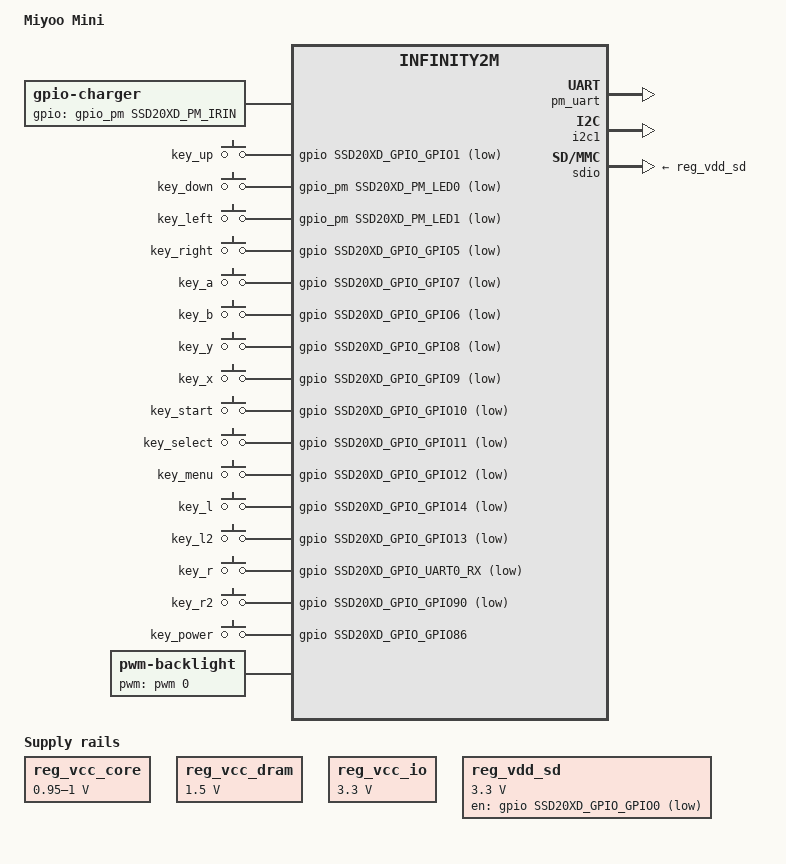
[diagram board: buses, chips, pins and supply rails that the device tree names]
// SPDX-License-Identifier: GPL-2.0-or-later
/*
 * Copyright (c) 2021 thingy.jp.
 * Author: Daniel Palmer <daniel@thingy.jp>
 */

/dts-v1/;
#include "mstar-infinity2m-ssd202d.dtsi"

/ {
	model = "Miyoo Mini";
	compatible = "miyoo,miyoo-mini", "mstar,infinity2m";

	aliases {
		serial0 = &pm_uart;
	};

	chosen {
		stdout-path = "serial0:115200n8";
		bootargs = "console=ttyS0,115200 clk_ignore_unused earlyprintk";
	};

	gpio-charger {
		compatible = "gpio-charger";
		charger-type = "usb-dcp";
		gpios = <&gpio_pm SSD20XD_PM_IRIN>;
	};

	gpio-keys {
		compatible = "gpio-keys-polled";
		poll-interval = <10>;

		key_up {
			label = "key_up";
			gpios = <&gpio SSD20XD_GPIO_GPIO1 GPIO_ACTIVE_LOW>;
			linux,code = <103>; /* KEY_UP */
		};

		key_down {
			label = "key_down";
			gpios = <&gpio_pm SSD20XD_PM_LED0 GPIO_ACTIVE_LOW>;
			linux,code = <108>; /* KEY_DOWN */
		};

		key_left {
			label = "key_left";
			gpios = <&gpio_pm SSD20XD_PM_LED1 GPIO_ACTIVE_LOW>;
			linux,code = <105>; /* KEY_LEFT */
		};

		key_right {
			label = "key_right";
			gpios = <&gpio SSD20XD_GPIO_GPIO5 GPIO_ACTIVE_LOW>;
			linux,code = <106>; /* KEY_RIGHT */
		};

		key_a {
			label = "key_a";
			gpios = <&gpio SSD20XD_GPIO_GPIO7 GPIO_ACTIVE_LOW>;
			linux,code = <30>; /* KEY_A */
		};

		key_b {
			label = "key_b";
			gpios = <&gpio SSD20XD_GPIO_GPIO6 GPIO_ACTIVE_LOW>;
			linux,code = <48>; /* KEY_B */
		};

		key_y {
			label = "key_y";
			gpios = <&gpio SSD20XD_GPIO_GPIO8 GPIO_ACTIVE_LOW>;
			linux,code = <21>; /* KEY_Y */
		};

		key_x {
			label = "key_x";
			gpios = <&gpio SSD20XD_GPIO_GPIO9 GPIO_ACTIVE_LOW>;
			linux,code = <45>; /* KEY_X */
		};

		key_start {
			label = "key_start";
			gpios = <&gpio SSD20XD_GPIO_GPIO10 GPIO_ACTIVE_LOW>;
			linux,code = <28>; /* KEY_ENTER */
		};

		key_select {
			label = "key_select";
			gpios = <&gpio SSD20XD_GPIO_GPIO11 GPIO_ACTIVE_LOW>;
			linux,code = <1>; /* KEY_ESC */
		};

		key_menu {
			label = "key_menu";
			gpios = <&gpio SSD20XD_GPIO_GPIO12 GPIO_ACTIVE_LOW>;
			linux,code = <139>; /* KEY_MENU */
		};

		key_l {
			label = "key_l";
			gpios = <&gpio SSD20XD_GPIO_GPIO14 GPIO_ACTIVE_LOW>;
			linux,code = <16>; /* KEY_Q */
		};

		key_l2 {
			label = "key_l2";
			gpios = <&gpio SSD20XD_GPIO_GPIO13 GPIO_ACTIVE_LOW>;
			linux,code = <17>; /* KEY_W */
		};

		key_r {
			label = "key_r";
			gpios = <&gpio SSD20XD_GPIO_UART0_RX GPIO_ACTIVE_LOW>;
			linux,code = <18>; /* KEY_E */
		};

		key_r2 {
			label = "key_r2";
			gpios = <&gpio SSD20XD_GPIO_GPIO90 GPIO_ACTIVE_LOW>;
			linux,code = <19>; /* KEY_R */
		};

		key_power {
			label = "key_power";
			gpios = <&gpio SSD20XD_GPIO_GPIO86 GPIO_ACTIVE_HIGH>;
			linux,code = <116>; /* KEY_POWER */
		};
	};

	reg_vcc_core: regulator-vcc-core {
		compatible = "regulator-gpio";
		regulator-name = "vcc_core";
		regulator-type = "voltage";
		regulator-min-microvolt = <950000>;
		regulator-max-microvolt = <1000000>;
		regulator-boot-on;
		regulator-ramp-delay = <12000>;
		gpios = <&sar 1 0>;
		states = <1000000 0x1
			  950000  0x0>;
	};

	reg_vcc_dram: regulator-vcc-dram {
		compatible = "regulator-fixed";
		regulator-name = "vcc_dram";
		regulator-min-microvolt = <1500000>;
		regulator-max-microvolt = <1500000>;
		regulator-boot-on;
	};

	reg_vcc_io: regulator-vcc-io {
		compatible = "regulator-fixed";
		regulator-name = "vcc_io";
		regulator-min-microvolt = <3300000>;
		regulator-max-microvolt = <3300000>;
		regulator-boot-on;
	};

	reg_vdd_sd: regulator-vdd-sd {
		compatible = "regulator-fixed";
		regulator-name = "sd_vdd";
		regulator-min-microvolt = <3300000>;
		regulator-max-microvolt = <3300000>;
		gpio = <&gpio SSD20XD_GPIO_GPIO0 0>;
	};

	backlight: backlight {
		compatible = "pwm-backlight";
		pwms = <&pwm 0 50000>;
		brightness-levels = <0 4 8 16 32 64 128 255>;
		default-brightness-level = <6>;
	};
};

&cpu0 {
	cpu-supply = <&reg_vcc_core>;
};

&pm_uart {
	status = "okay";
};

&pwm {
	pinctrl-names = "default";
        pinctrl-0 = <&pwm0_mode3_pins>;
};

&i2c1 {
        pinctrl-names = "default";
        pinctrl-0 = <&i2c1_mode1_pins>;
	status = "okay";
};

&miu {
	ddr-supply = <&reg_vcc_dram>;
};

&sdio {
	vmmc-supply = <&reg_vdd_sd>;
	vqmmc-supply = <&reg_vcc_io>;
	status = "okay";
};
